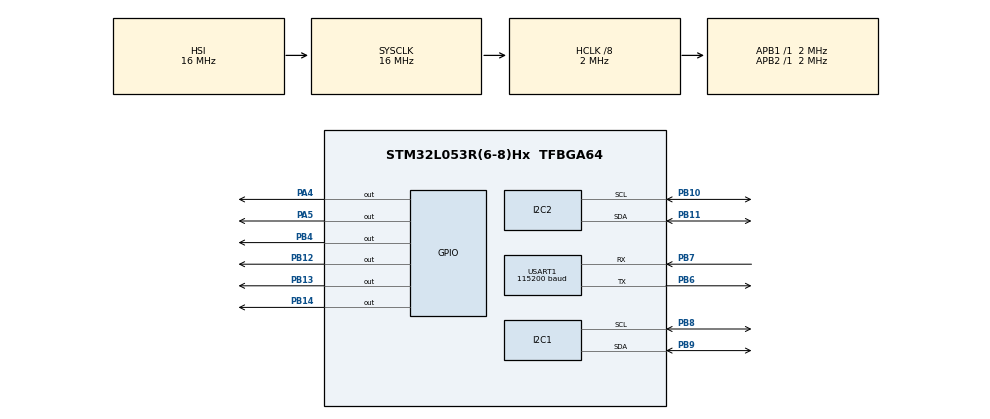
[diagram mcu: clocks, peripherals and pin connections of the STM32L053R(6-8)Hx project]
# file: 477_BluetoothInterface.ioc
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I2C1.Timing=0x00000509
I2C2.Timing=0x00000509
Mcu.Family=STM32L0
Mcu.Name=STM32L053R(6-8)Hx
Mcu.Package=TFBGA64
NVIC.TIM2_IRQn=true\:0\:0\:false\:false\:true\:true\:true
NVIC.USART1_IRQn=true\:0\:0\:false\:false\:true\:true\:true
PA4.Signal=GPIO_Output
PA5.Signal=GPIO_Output
PB10.Mode=I2C
PB10.Signal=I2C2_SCL
PB11.Mode=I2C
PB11.Signal=I2C2_SDA
PB12.Signal=GPIO_Output
PB13.Signal=GPIO_Output
PB14.Signal=GPIO_Output
PB4.Signal=GPIO_Output
PB6.Mode=Asynchronous
PB6.Signal=USART1_TX
PB7.Mode=Asynchronous
PB7.Signal=USART1_RX
PB8.Mode=I2C
PB8.Signal=I2C1_SCL
PB9.Mode=I2C
PB9.Signal=I2C1_SDA
PH0-OSC_IN.Mode=HSE-External-Oscillator
PH0-OSC_IN.Signal=RCC_OSC_IN
PH1-OSC_OUT.Mode=HSE-External-Oscillator
PH1-OSC_OUT.Signal=RCC_OSC_OUT
ProjectManager.HeapSize=0x200
ProjectManager.StackSize=0x400
ProjectManager.TargetToolchain=STM32CubeIDE
RCC.AHBCLKDivider=RCC_SYSCLK_DIV8
RCC.AHBFreq_Value=2000000
RCC.APB1Freq_Value=2000000
RCC.APB1TimFreq_Value=2000000
RCC.APB2Freq_Value=2000000
RCC.APB2TimFreq_Value=2000000
RCC.HCLKFreq_Value=2000000
RCC.HSE_VALUE=8000000
RCC.HSI16_VALUE=16000000
RCC.HSI48_VALUE=48000000
RCC.HSI_VALUE=16000000
RCC.LSE_VALUE=32768
RCC.MSI_VALUE=2097000
RCC.PLLDIV=RCC_PLLDIV_3
RCC.PLLSourceVirtual=RCC_PLLSOURCE_HSE
RCC.SYSCLKFreq_VALUE=16000000
RCC.SYSCLKSource=RCC_SYSCLKSOURCE_HSI
RCC.VCOOutputFreq_Value=24000000
TIM2.Period=1500-1
TIM2.Prescaler=40000-1
USART1.BaudRate=115200
USART1.VirtualMode-Asynchronous=VM_ASYNC
VP_TIM2_VS_ClockSourceINT.Mode=Internal
board=custom

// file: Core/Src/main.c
/* USER CODE BEGIN Header */
/**
  ******************************************************************************
  * @file           : main.c
  * @brief          : Main program body
  ******************************************************************************
  * @attention
  *
  * <h2><center>&copy; Copyright (c) 2021 STMicroelectronics.
  * All rights reserved.</center></h2>
  *
  * This software component is licensed by ST under BSD 3-Clause license,
  * the "License"; You may not use this file except in compliance with the
  * License. You may obtain a copy of the License at:
  *                        opensource.org/licenses/BSD-3-Clause
  *
  ******************************************************************************
  */
#include <stdlib.h>
//
#include "string.h"
//#include "rn4020.c"
/* USER CODE END Header */
#include "main.h"

/* USER CODE BEGIN Includes */
#include <math.h>
#include <stdio.h>
/* USER CODE END Includes */

/* USER CODE BEGIN PD */
#define RN4020_TIMEOUT 5000
#define TRUE 1
#define FALSE 0
/* USER CODE END PD */

I2C_HandleTypeDef hi2c1;
I2C_HandleTypeDef hi2c2;

TIM_HandleTypeDef htim2;

UART_HandleTypeDef huart1;

/* USER CODE BEGIN PV */

//-------------------------------------------------------------------------------
// IMU-20602 Global Variables
//-------------------------------------------------------------------------------
uint16_t ICM_Main_ADDR = 0x68 << 1;
uint8_t accXH;
uint8_t accYH;
uint8_t accZH;
uint16_t accXraw;
uint16_t accYraw;
uint16_t accZraw;

double temp_sens;
double accel_sens;
double accX = 1;
double accY = 1;
double accZ = 1;
double mag;

uint8_t data[6];
//-------------------------------------------------------------------------------

//-------------------------------------------------------------------------------
// RN4020 Global Variables
//-------------------------------------------------------------------------------
RN4020_State currState;
uint8_t rxBuffer[1];
uint8_t rxBuffer2[5];
uint8_t compareAOK[4] = {'A','O','K', '\r'};
uint8_t compareCMD[3] = {'C', 'M', 'D'};
uint8_t compareREB[3] = {'R', 'E', 'B'};
uint8_t compareREBOOT[6] = {'R', 'E', 'B', 'O', 'O', 'T'};
int HELPcounter = 0;
//-------------------------------------------------------------------------------

//-------------------------------------------------------------------------------
// Battery Babysitter Global Variables
//-------------------------------------------------------------------------------
//important address definitions
uint16_t BABY_Main_ADDR = 0x55 << 1;
uint16_t rem = 0x0C;
uint16_t full = 0x0E;
//-------------------------------------------------------------------------------

//-------------------------------------------------------------------------------
// Battery Babysitter Global Variables
//-------------------------------------------------------------------------------
int increasing = 0;
int decreasing = 0;
int prev_increasing = 0;
int prev_decreasing = 0;
int prev_value = 0;
int rotation_counter = 0;
int rotate = 0;
//-------------------------------------------------------------------------------

/* USER CODE END PV */

void SystemClock_Config(void);
static void MX_GPIO_Init(void);
static void MX_USART1_UART_Init(void);
static void MX_TIM2_Init(void);
static void MX_I2C2_Init(void);
static void MX_I2C1_Init(void);
/* USER CODE BEGIN PFP */

//**********************************************************************
//  RN4020 Function Declarations (START)
//**********************************************************************

int RN4020_resetDefaultStep(UART_HandleTypeDef *huart);

HAL_StatusTypeDef RN4020_resetToFactoryDefault(UART_HandleTypeDef *huart);

HAL_StatusTypeDef RN4020_killConnection(UART_HandleTypeDef *huart);

HAL_StatusTypeDef RN4020_setBaudRate115200(UART_HandleTypeDef *huart);

HAL_StatusTypeDef RN4020_setService(UART_HandleTypeDef *huart);

HAL_StatusTypeDef RN4020_clearPrivateSettings(UART_HandleTypeDef *huart);

HAL_StatusTypeDef RN4020_setPrivateService(UART_HandleTypeDef *huart);

HAL_StatusTypeDef RN4020_setPrivateChar(UART_HandleTypeDef *huart);

HAL_StatusTypeDef RN4020_setDeviceType(UART_HandleTypeDef *huart);

HAL_StatusTypeDef RN4020_rebootDevice(UART_HandleTypeDef *huart);

HAL_StatusTypeDef RN4020_setNameDevice(UART_HandleTypeDef *huart);

HAL_StatusTypeDef RN4020_waitForReadyState();

HAL_StatusTypeDef RN4020_waitForReadyState2();

HAL_StatusTypeDef RN4020_sendBatteryLife(UART_HandleTypeDef *huart, char* batteryLevel);

void sendData(UART_HandleTypeDef *huart, char _out[]);

void RN4020_sendData(UART_HandleTypeDef *huart, const char* line);

int compStr(uint8_t strcomp[], uint8_t expcomp[]);

void resetRxBuffer(uint8_t *rxBuffer);

void RN4020_setState(RN4020_State *state, RN4020_State newState);

void RN4020_checkState();

void getBatteryLife();

void babysitter_SendData();

//**********************************************************************
//  RN4020 Function Declarations (END)
//**********************************************************************

//**********************************************************************
//  RN4020 Maybe useful later (START)
//**********************************************************************
//void setupReceiveInterrupt(UART_HandleTypeDef *huart, int size);
//void sendUSART(UART_HandleTypeDef *huart, char _out[], GPIO_TypeDef *GPIOX, int GPIO_Pin);

//
//void setupReceiveInterrupt(UART_HandleTypeDef *huart, int size) {
//	HAL_UART_Receive_IT(huart, rxBuffer, size);
//}

//void sendUSART(UART_HandleTypeDef *huart, char _out[], GPIO_TypeDef *GPIOX, int GPIO_Pin)
//{
//	HAL_StatusTypeDef ret;
//	ret = HAL_UART_Transmit(huart, (uint8_t *) _out, strlen(_out), 10);
//	HAL_Delay(5000);
//	if (ret == HAL_OK) {
//		HAL_GPIO_TogglePin(GPIOX, GPIO_Pin);
//	}
//}

//**********************************************************************
//  RN4020 Maybe useful later (END)
//**********************************************************************

//**********************************************************************
//  HELPER RN4020 Functions (START)
//**********************************************************************
//ACTUALLY for battery life
void getBatteryLife() {
	HAL_StatusTypeDef babysitter_ret;
	HAL_StatusTypeDef babysitter_ret2;
	uint8_t BABY_data[2];
	uint8_t BABY_data2[2];
	int bigbattery = 0;
//	char cadence[4] = {0,0,0,0};
	char integer[4] = {0,0,0,0}; //create an empty string to store number
//	char HELPinteger[4] = {0,0,0,0};
	babysitter_ret = HAL_I2C_Mem_Read(&hi2c2, BABY_Main_ADDR, rem, I2C_MEMADD_SIZE_8BIT, BABY_data, 2, HAL_MAX_DELAY);
	babysitter_ret2 = HAL_I2C_Mem_Read(&hi2c2, BABY_Main_ADDR, full, I2C_MEMADD_SIZE_8BIT, BABY_data2, 2, HAL_MAX_DELAY);

	if ( babysitter_ret != HAL_OK || babysitter_ret2 != HAL_OK ) {

	}
	else {
		char integer[4] = {0,0,0,0}; //create an empty string to store number
//		char decimal[4] = {0,0,0,0}; //create an empty string to store number
		uint16_t finalval = ((uint16_t) BABY_data[1] << 8) | BABY_data[0];
		uint16_t finalval2 = ((uint16_t) BABY_data2[1] << 8) | BABY_data2[0];
		bigbattery = 100000 * finalval / finalval2;

		if ((bigbattery / 1000) < 10) {
			sprintf(integer, "0%d", bigbattery / 1000);
//			sprintf(HELPinteger, "0%d", HELPcounter);
		}
		else {
			sprintf(integer, "%02d", bigbattery / 1000);
//			sprintf(HELPinteger, "%02d", HELPcounter);
		}
//		sprintf(decimal, "%03d", bigbattery % 1000);
		RN4020_sendBatteryLife(&huart1, integer);
//		RN4020_sendBatteryLife(&huart1, HELPinteger);

	  }
}

int compStr(uint8_t* strcomp, uint8_t* expcomp)
{
	//int sizeStrComp = sizeof(strcomp)/sizeof(strcomp[0]);
	//int sizeExpComp = sizeof(strcomp)/sizeof(expcomp[0]);
	if(strcomp[0] != expcomp[0]) {
		return FALSE;
	}
//	for(int i = 0; i < sizeExpComp; i++)
//	{
//		if (strcomp[i] != expcomp[i])
//		{
//			return FALSE;
//		}
//	}
	return TRUE;
}

void resetRxBuffer(uint8_t *rxBuffer)
{
	int sizeRx = sizeof(rxBuffer) / sizeof(rxBuffer[0]);
	for (int i = 0; i < sizeRx; i++) {
		rxBuffer[i] = 0;
	}
}

//**********************************************************************
//  HELPER RN4020 Functions (END)
//**********************************************************************

//**********************************************************************
//  RN4020 Functions (START)
//**********************************************************************

int RN4020_resetDefaultStep(UART_HandleTypeDef *huart) {
	int completeFlag = TRUE;
	if (RN4020_resetToFactoryDefault(huart) != HAL_OK) {
		HAL_GPIO_TogglePin(GPIOA, GPIO_PIN_5);
		completeFlag = FALSE;
	}
//	if (RN4020_killConnection(huart) != HAL_OK) {
//			HAL_GPIO_TogglePin(GPIOA, GPIO_PIN_5);
//			completeFlag = FALSE;
//		}
	if (RN4020_setBaudRate115200(huart) != HAL_OK) {
		HAL_GPIO_TogglePin(GPIOA, GPIO_PIN_5);
		completeFlag = FALSE;
	}
	if (RN4020_setService(huart) != HAL_OK) {
		HAL_GPIO_TogglePin(GPIOA, GPIO_PIN_5);
		completeFlag = FALSE;
	}
	if (RN4020_clearPrivateSettings(huart) != HAL_OK) {
		HAL_GPIO_TogglePin(GPIOA, GPIO_PIN_5);
		completeFlag = FALSE;
	}
	if (RN4020_setPrivateService(huart) != HAL_OK) {
		HAL_GPIO_TogglePin(GPIOA, GPIO_PIN_5);
		completeFlag = FALSE;
	}
	if (RN4020_setPrivateChar(huart) != HAL_OK) {
		HAL_GPIO_TogglePin(GPIOA, GPIO_PIN_5);
		completeFlag = FALSE;
	}
	if (RN4020_setDeviceType(huart) != HAL_OK) {
		HAL_GPIO_TogglePin(GPIOA, GPIO_PIN_5);
		completeFlag = FALSE;
	}
	if (RN4020_rebootDevice(huart) != HAL_OK) {
		HAL_GPIO_TogglePin(GPIOA, GPIO_PIN_5);
		completeFlag = FALSE;
	}
	if (RN4020_setNameDevice(huart) != HAL_OK) {
		HAL_GPIO_TogglePin(GPIOA, GPIO_PIN_5);
		completeFlag = FALSE;
	}

	return completeFlag;
}

HAL_StatusTypeDef RN4020_resetToFactoryDefault(UART_HandleTypeDef *huart) {
	RN4020_setState(&currState, RN4020_STATE_WAITING_FOR_AOK);
	RN4020_sendData(huart, "SF,1\r\n");
	return RN4020_waitForReadyState();
	}
HAL_StatusTypeDef RN4020_killConnection(UART_HandleTypeDef *huart) {
	RN4020_setState(&currState, RN4020_STATE_WAITING_FOR_AOK);
	RN4020_sendData(huart, "K\r\n");
	return RN4020_waitForReadyState();
	}
HAL_StatusTypeDef RN4020_setBaudRate115200(UART_HandleTypeDef *huart) {
	RN4020_setState(&currState, RN4020_STATE_WAITING_FOR_AOK);
	RN4020_sendData(huart, "SB,4\r\n");
	return RN4020_waitForReadyState();
	}

HAL_StatusTypeDef RN4020_setService(UART_HandleTypeDef *huart) {
	RN4020_setState(&currState, RN4020_STATE_WAITING_FOR_AOK);
	RN4020_sendData(huart, "SS,C0040000\r\n");
	return RN4020_waitForReadyState();
	}
HAL_StatusTypeDef RN4020_clearPrivateSettings(UART_HandleTypeDef *huart) {
	RN4020_setState(&currState, RN4020_STATE_WAITING_FOR_AOK);
	RN4020_sendData(huart, "PZ\r\n");
	return RN4020_waitForReadyState();
	}
HAL_StatusTypeDef RN4020_setPrivateService(UART_HandleTypeDef *huart) {
	RN4020_setState(&currState, RN4020_STATE_WAITING_FOR_AOK);
	RN4020_sendData(huart, "PS,11223344556677889900AABBCCDDEEFF\r\n");
	return RN4020_waitForReadyState();
	}
HAL_StatusTypeDef RN4020_setPrivateChar(UART_HandleTypeDef *huart) {
	RN4020_setState(&currState, RN4020_STATE_WAITING_FOR_AOK);
	RN4020_sendData(huart, "PC,010203040506070809000A0B0C0D0E0F,08,02\r\n");
	return RN4020_waitForReadyState();
	}
HAL_StatusTypeDef RN4020_setDeviceType(UART_HandleTypeDef *huart) {
	RN4020_setState(&currState, RN4020_STATE_WAITING_FOR_AOK);
	RN4020_sendData(huart, "SR,20000000\r\n");
	return RN4020_waitForReadyState();
	}
HAL_StatusTypeDef RN4020_rebootDevice(UART_HandleTypeDef *huart) {
	RN4020_setState(&currState, RN4020_STATE_WAITING_FOR_REBOOT);
	RN4020_sendData(huart, "R,1\r\n");
	return RN4020_waitForReadyState();
	}

HAL_StatusTypeDef RN4020_setNameDevice(UART_HandleTypeDef *huart) {
	RN4020_setState(&currState, RN4020_STATE_WAITING_FOR_AOK);
	RN4020_sendData(huart, "SN,T17_NewlyWED");
	RN4020_sendData(huart, "\r\n");
	return RN4020_waitForReadyState();
}

HAL_StatusTypeDef RN4020_sendBatteryLife(UART_HandleTypeDef *huart, char* batteryLevel) {
	RN4020_setState(&currState, RN4020_STATE_WAITING_FOR_AOK);
	RN4020_sendData(huart, "SUW,2A19,");
	RN4020_sendData(huart, batteryLevel);
	RN4020_sendData(huart, "\r\n");
//	return RN4020_waitForReadyState2();
	return HAL_OK;
	}

HAL_StatusTypeDef RN4020_sendCadence(UART_HandleTypeDef *huart, char* cadence) {
	RN4020_setState(&currState, RN4020_STATE_WAITING_FOR_AOK);
//	RN4020_sendData(huart, "SUW,2A07,");
	RN4020_sendData(huart, "SUW,2A19,");
	RN4020_sendData(huart, cadence);
//	RN4020_sendData(huart, "75");
	RN4020_sendData(huart, "\r\n");
//	return RN4020_waitForReadyState2();
	return HAL_OK;
	}

//Uses global variable currState
HAL_StatusTypeDef RN4020_waitForReadyState() {
	if(currState == RN4020_STATE_READY) {
		return HAL_OK;
	}

	uint32_t startTime = HAL_GetTick();
	while (1) {
		if(currState == RN4020_STATE_READY) {
			resetRxBuffer(rxBuffer);
			return HAL_OK;
		}
		//if ((HAL_GetTick() - startTime) > RN4020_TIMEOUT) {
		if ((HAL_GetTick() - startTime) > 3000) {
			resetRxBuffer(rxBuffer);
			return HAL_TIMEOUT;
		}
		RN4020_checkState();
	}

}

HAL_StatusTypeDef RN4020_waitForReadyState2() {
	if(currState == RN4020_STATE_READY) {
		return HAL_OK;
	}

	uint32_t startTime = HAL_GetTick();
	while (1) {
		if(currState == RN4020_STATE_READY) {
			resetRxBuffer(rxBuffer);
			return HAL_OK;
		}
		if ((HAL_GetTick() - startTime) > 500) {
			resetRxBuffer(rxBuffer);
			return HAL_TIMEOUT;
		}
		RN4020_checkState();
	}

}

//Uses global variable currState
void RN4020_checkState() {
	switch(currState) {
	case RN4020_STATE_WAITING_FOR_AOK:
		if (compStr(rxBuffer, compareAOK) == TRUE) {
			RN4020_setState(&currState, RN4020_STATE_READY);
			return;
		}
	break;
	case RN4020_STATE_WAITING_FOR_REBOOT:
		if (compStr(rxBuffer, compareREB) == TRUE) {
			RN4020_setState(&currState, RN4020_STATE_WAITING_FOR_CMD);
			return;
		}
	break;
	case RN4020_STATE_WAITING_FOR_CMD:
		if (compStr(rxBuffer, compareCMD) == TRUE) {
			RN4020_setState(&currState, RN4020_STATE_READY);
		}
	break;
	case RN4020_STATE_READY:
	break;
	}
}

void RN4020_setState(RN4020_State *state, RN4020_State newState) {
	*state = newState;
}

void RN4020_sendData(UART_HandleTypeDef *huart, const char* line) {
//  char carriageLineCh = '\r';
//  char newLineCh = '\n';
  HAL_UART_Transmit(huart, (uint8_t*)line, strlen(line), RN4020_TIMEOUT);
  //HAL_UART_Transmit(huart, (uint8_t*)&carriageLineCh, 1, RN4020_TIMEOUT);
  //HAL_UART_Transmit(huart, (uint8_t*)&newLineCh, 1, RN4020_TIMEOUT);
  //HAL_Delay(300);
}

//**********************************************************************
//  RN4020 Functions (END)
//**********************************************************************

//ACTUALLY, this is for the cadence XD
void babysitter_SendData() {
	//Variables for babysitter interrupt
//	HAL_StatusTypeDef babysitter_ret;
//	HAL_StatusTypeDef babysitter_ret2;
//	uint8_t BABY_data[2];
//	uint8_t BABY_data2[2];
//	int bigbattery = 0;
//	char integer[4] = {0,0,0,0}; //create an empty string to store number
//	char HELPinteger[4] = {0,0,0,0};
	char cadence[4] = {0,0,0,0};
	if (rotation_counter < 10) {
		sprintf(cadence, "0%d", rotation_counter);
	}
	else {
		sprintf(cadence, "%02d", rotation_counter);
	}
	RN4020_sendCadence(&huart1, cadence);
//	babysitter_ret = HAL_I2C_Mem_Read(&hi2c2, BABY_Main_ADDR, rem, I2C_MEMADD_SIZE_8BIT, BABY_data, 2, HAL_MAX_DELAY);
//	babysitter_ret2 = HAL_I2C_Mem_Read(&hi2c2, BABY_Main_ADDR, full, I2C_MEMADD_SIZE_8BIT, BABY_data2, 2, HAL_MAX_DELAY);
//
//	if ( babysitter_ret != HAL_OK || babysitter_ret2 != HAL_OK ) {
//		babysitter_ret = HAL_I2C_Mem_Read(&hi2c2, BABY_Main_ADDR, rem, I2C_MEMADD_SIZE_8BIT, BABY_data, 2, HAL_MAX_DELAY);
//		babysitter_ret2 = HAL_I2C_Mem_Read(&hi2c2, BABY_Main_ADDR, full, I2C_MEMADD_SIZE_8BIT, BABY_data2, 2, HAL_MAX_DELAY);
//		if ( babysitter_ret != HAL_OK || babysitter_ret2 != HAL_OK ) {
//			//HAL_UART_Transmit(&huart1, (uint8_t *) " RECEIVE ERROR\r\n", strlen(" RECEIVE ERROR\r\n"), 100);
//		}
//		else {
//			uint16_t finalval = ((uint16_t) BABY_data[1] << 8) | BABY_data[0];
//			uint16_t finalval2 = ((uint16_t) BABY_data2[1] << 8) | BABY_data2[0];
//			bigbattery = 100000 * finalval / finalval2;
//
//			if ((bigbattery / 1000) < 10) {
//				//sprintf(integer, "0%d", bigbattery / 1000);
//				sprintf(HELPinteger, "0%d", HELPcounter);
//			}
//			else {
//				//sprintf(integer, "%02d", bigbattery / 1000);
//				sprintf(HELPinteger, "%02d", HELPcounter);
//			}
//
////			RN4020_sendBatteryLife(&huart1, integer);
//			RN4020_sendBatteryLife(&huart1, HELPinteger);
//		}
//	}
//	else {
//		char integer[4] = {0,0,0,0}; //create an empty string to store number
////		char decimal[4] = {0,0,0,0}; //create an empty string to store number
//		uint16_t finalval = ((uint16_t) BABY_data[1] << 8) | BABY_data[0];
//		uint16_t finalval2 = ((uint16_t) BABY_data2[1] << 8) | BABY_data2[0];
//		bigbattery = 100000 * finalval / finalval2;
//
//		if ((bigbattery / 1000) < 10) {
//			//sprintf(integer, "0%d", bigbattery / 1000);
//			sprintf(HELPinteger, "0%d", HELPcounter);
//		}
//		else {
//			//sprintf(integer, "%02d", bigbattery / 1000);
//			sprintf(HELPinteger, "%02d", HELPcounter);
//		}
////		sprintf(decimal, "%03d", bigbattery % 1000);
////		RN4020_sendBatteryLife(&huart1, integer);
//		RN4020_sendBatteryLife(&huart1, HELPinteger);
//
//	  }
//	  if (ret == HAL_OK) {
//		  HAL_GPIO_TogglePin(GPIOA, GPIO_PIN_5);
//	  }

}
void HAL_UART_RxCpltCallback(UART_HandleTypeDef *huart)
{
	//HAL_UART_Transmit(&huart1, (uint8_t *)"Success\n\r", strlen("Success\n\r"), 100);
	HAL_UART_Receive_IT(&huart1, rxBuffer, sizeof(rxBuffer));

// --------------------------------------------------------------------------------------------
// DEBUGGING by TRANSMITTING BACK TO TERMINAL
//	// DEBUG: Write back to terminal to see if it is the same
//	HAL_UART_Transmit(&huart1, (uint8_t *)"\n\r", strlen("\n\r"), 100);
//    HAL_UART_Transmit(&huart1, rxBuffer, sizeof(rxBuffer), 100);
//	HAL_UART_Transmit(&huart1, (uint8_t *)"\n\r", strlen("\n\r"), 100);
//
//	// Compare string using compStr function to see if they are the same
//	if(compStr(rxBuffer, compareAOK) == TRUE) {
//		HAL_UART_Transmit(&huart1, (uint8_t *)"Success\n\r", strlen("Success\n\r"), 100);
//		HAL_GPIO_WritePin(GPIOA, GPIO_PIN_5, GPIO_PIN_SET);
//	}
//	else {
//		HAL_UART_Transmit(&huart1, (uint8_t *)"Fail\n\r", strlen("Fail\n\r"), 100);
//		HAL_GPIO_WritePin(GPIOA, GPIO_PIN_5, GPIO_PIN_RESET);
//	}
//    HAL_UART_Receive_IT(&huart1, rxBuffer, sizeof(rxBuffer));
// --------------------------------------------------------------------------------------------
}

/* USER CODE END PFP */

int main(void)
{
  /* USER CODE BEGIN 1 */
	int RN4020_config_ret;

	HAL_StatusTypeDef ICM_ret = HAL_OK;
	HAL_StatusTypeDef ICM_ret2 = HAL_OK;
	HAL_StatusTypeDef ICM_ret3 = HAL_OK;
	HAL_StatusTypeDef ICM_ret4 = HAL_OK;
	HAL_StatusTypeDef ICM_ret5 = HAL_OK;
	HAL_StatusTypeDef ICM_ret6 = HAL_OK;

	uint8_t deviceID;
	uint8_t pwr1 = 0x80;
	uint8_t pwr1_2 = 0x01;
	uint8_t rtDiv = 0x00;
	uint8_t accelConfig = 0x18;
	uint8_t accelConfig2 = 0x03;

  /* USER CODE END 1 */

  /* MCU Configuration--------------------------------------------------------*/

  /* Reset of all peripherals, Initializes the Flash interface and the Systick. */
  HAL_Init();

  /* Configure the system clock */
  SystemClock_Config();

  /* Initialize all configured peripherals */
  MX_GPIO_Init();
  MX_USART1_UART_Init();
  MX_TIM2_Init();
  MX_I2C2_Init();
  MX_I2C1_Init();
  /* USER CODE BEGIN 2 */
  RCC -> IOPENR |= RCC_IOPENR_IOPBEN | RCC_IOPENR_IOPAEN;
  HAL_GPIO_WritePin(GPIOA, GPIO_PIN_5, GPIO_PIN_RESET); // Set PA5 pin off
  HAL_GPIO_WritePin(GPIOA, GPIO_PIN_4, 1);
  HAL_GPIO_WritePin(GPIOB, GPIO_PIN_4, 1);

//==================================================================================
//	Bluetooth LE Configuration Step
//==================================================================================
  HAL_UART_Receive_IT(&huart1, rxBuffer, sizeof(rxBuffer));
  RN4020_config_ret = RN4020_resetDefaultStep(&huart1);
  if (RN4020_config_ret == TRUE) {
	  HAL_GPIO_WritePin(GPIOA, GPIO_PIN_5, GPIO_PIN_SET);
  }
    HAL_GPIO_WritePin(GPIOA, GPIO_PIN_5, GPIO_PIN_SET);
//==================================================================================
//  getBatteryLife();
//  HAL_Delay(25);
//==================================================================================
//	ICM-20602 Configuration Step
//==================================================================================
  // read who_am_i
  ICM_ret = HAL_I2C_Mem_Read(&hi2c1, ICM_Main_ADDR, WHO_AM_I, I2C_MEMADD_SIZE_8BIT, &deviceID, 1, 0xFF);
  HAL_Delay(25);

  // reset IMU
  ICM_ret2 = HAL_I2C_Mem_Write(&hi2c1, ICM_Main_ADDR, PWR_MGMT_1, I2C_MEMADD_SIZE_8BIT, &pwr1, 1, 0xFF);
  HAL_Delay(25);

  // enable temperature sensor and SELECTS the clock source
  ICM_ret3 = HAL_I2C_Mem_Write(&hi2c1, ICM_Main_ADDR, PWR_MGMT_1, I2C_MEMADD_SIZE_8BIT, &pwr1_2, 1, 0xFF);
  HAL_Delay(25);
  temp_sens = 326.8;

  // set sample rate to 1kHz and apply
  ICM_ret4 = HAL_I2C_Mem_Write(&hi2c1, ICM_Main_ADDR, SMPLRT_DIV, I2C_MEMADD_SIZE_8BIT, &rtDiv, 1, 0xFF);
  HAL_Delay(25);

  // accel full-scale range = 16g(0b11) -- sensitivity scale factor = 2,048 LSB/(dps)
  ICM_ret5 = HAL_I2C_Mem_Write(&hi2c1, ICM_Main_ADDR, ACCEL_CONFIG, I2C_MEMADD_SIZE_8BIT, &accelConfig, 1, 0xFF); // ACCEL full-scale range = 16g -- sensitivity scale facotr = 2,048 LSB/(dps)
  HAL_Delay(25);
  accel_sens = 2048.0;

  // set A_DLPF_CFG to 3 for accel configuration
  ICM_ret6 = HAL_I2C_Mem_Write(&hi2c1, ICM_Main_ADDR, ACCEL_CONFIG2, I2C_MEMADD_SIZE_8BIT, &accelConfig2, 1, 0xFF); // ACCEL FCHOICE 1kHz(bit3-0), DLPF fc 44.8Hz(bit2:0-011)
  HAL_Delay(25);
  if (ICM_ret != HAL_OK || ICM_ret2 != HAL_OK || ICM_ret3 != HAL_OK || ICM_ret4 != HAL_OK || ICM_ret5 != HAL_OK || ICM_ret6 != HAL_OK || deviceID != 0x12)
  {
	  HAL_GPIO_WritePin(GPIOB, GPIO_PIN_12 | GPIO_PIN_13 | GPIO_PIN_14, 1);
	  HAL_Delay(500);
	  HAL_GPIO_WritePin(GPIOB, GPIO_PIN_12 | GPIO_PIN_13 | GPIO_PIN_14, 0);
  }
  else {
	  HAL_GPIO_WritePin(GPIOB, GPIO_PIN_12, 1);
	  HAL_Delay(500);
	  HAL_GPIO_WritePin(GPIOB, GPIO_PIN_12, 0);
  }
//==================================================================================
//	Start TIMER2 Step (function @ HAL_TIM_PeriodElapsedCallback)
//==================================================================================
  HAL_TIM_Base_Start_IT(&htim2);
//==================================================================================

  /* USER CODE END 2 */

  /* Infinite loop */
  /* USER CODE BEGIN WHILE */
	int IMU_avgCounter = 0;
	int IMU_postCounter = 0;
	double IMU_sum = 0;
	double curr_value = 0;
	double prev_value = 0;

	while (1)
	{
		//Collect IMU acceleration data
		ICM_ret = HAL_I2C_Mem_Read(&hi2c1, ICM_Main_ADDR, ACCEL_XOUT_H, I2C_MEMADD_SIZE_8BIT, data, sizeof(data)/sizeof(uint8_t), HAL_MAX_DELAY);
		if ((data[0] & 0x80) != 0){
			accX = -1;
			data[0] = (data[0] ^ 0xFF) + 1;
		}
		if ((data[2] & 0x80) != 0){
			accY = -1;
			data[2] = (data[2] ^ 0xFF) + 1;
		}
		if ((data[4] & 0x80) != 0){
			accZ = -1;
			data[4] = (data[4] ^ 0xFF) + 1;
		}
		accXraw = (uint16_t) (data[0] << 8 | data[1]);
		accYraw = (uint16_t) (data[2] << 8 | data[3]);
		accZraw = (uint16_t) (data[4] << 8 | data[5]);
		accX *= accXraw / accel_sens;
		accY *= accYraw / accel_sens;
		accZ *= accZraw / accel_sens;
		mag = sqrt((pow(accX, 2) + pow(accY, 2) + pow(accZ, 2)));
		if(((accX > .9) && (accX < 1.1)) || ((accX < -.9) && (accX > -1.1))){
		    HAL_GPIO_WritePin(GPIOB, GPIO_PIN_12, 1);
		}
		else{
			HAL_GPIO_WritePin(GPIOB, GPIO_PIN_12, 0);
		}
		if(((accY > .9) && (accY < 1.1)) || ((accY < -.9) && (accY > -1.1))){
			HAL_GPIO_WritePin(GPIOB, GPIO_PIN_13, 1);
		}
		else{
			HAL_GPIO_WritePin(GPIOB, GPIO_PIN_13, 0);
		}
		if(((accZ > .9) && (accZ < 1.1)) || ((accZ < -.9) && (accZ > -1.1))){
			HAL_GPIO_WritePin(GPIOB, GPIO_PIN_14, 1);
		}
		else{
			HAL_GPIO_WritePin(GPIOB, GPIO_PIN_14, 0);
		}

		accX = 1;
		accY = 1;
		accZ = 1;

		IMU_sum = IMU_sum + mag;
		if(IMU_avgCounter == 99) {
			curr_value = IMU_sum / 100;
			IMU_avgCounter = 0;
			IMU_sum = 0;

			if(IMU_postCounter != 0) {
				prev_increasing = increasing;
				prev_decreasing = decreasing;
				if(curr_value > prev_value) {
					increasing = 1;
					decreasing = 0;
				}
				else {
					increasing = 0;
					decreasing = 1;
				}
				prev_value = curr_value;
			}
			else {
				prev_value = curr_value;
			}
			if(prev_decreasing && increasing) {
				//rotation phase 1
				rotate++;
			}
			if(prev_increasing && decreasing) {
				//rotation phase 2
				rotate++;
			}
			if(rotate == 2) {
				rotate = 0;
				rotation_counter++;
			}
			IMU_postCounter++;
		}
		else {
			IMU_avgCounter++;
		}

    /* USER CODE END WHILE */

	}
}

void SystemClock_Config(void)
{
  RCC_OscInitTypeDef RCC_OscInitStruct = {0};
  RCC_ClkInitTypeDef RCC_ClkInitStruct = {0};
  RCC_PeriphCLKInitTypeDef PeriphClkInit = {0};

  /** Configure the main internal regulator output voltage
  */
  __HAL_PWR_VOLTAGESCALING_CONFIG(PWR_REGULATOR_VOLTAGE_SCALE1);
  /** Initializes the RCC Oscillators according to the specified parameters
  * in the RCC_OscInitTypeDef structure.
  */
  RCC_OscInitStruct.OscillatorType = RCC_OSCILLATORTYPE_HSI;
  RCC_OscInitStruct.HSIState = RCC_HSI_ON;
  RCC_OscInitStruct.HSICalibrationValue = RCC_HSICALIBRATION_DEFAULT;
  RCC_OscInitStruct.PLL.PLLState = RCC_PLL_NONE;
  if (HAL_RCC_OscConfig(&RCC_OscInitStruct) != HAL_OK)
  {
    Error_Handler();
  }
  /** Initializes the CPU, AHB and APB buses clocks
  */
  RCC_ClkInitStruct.ClockType = RCC_CLOCKTYPE_HCLK|RCC_CLOCKTYPE_SYSCLK
                              |RCC_CLOCKTYPE_PCLK1|RCC_CLOCKTYPE_PCLK2;
  RCC_ClkInitStruct.SYSCLKSource = RCC_SYSCLKSOURCE_HSI;
  RCC_ClkInitStruct.AHBCLKDivider = RCC_SYSCLK_DIV8;
  RCC_ClkInitStruct.APB1CLKDivider = RCC_HCLK_DIV1;
  RCC_ClkInitStruct.APB2CLKDivider = RCC_HCLK_DIV1;

  if (HAL_RCC_ClockConfig(&RCC_ClkInitStruct, FLASH_LATENCY_0) != HAL_OK)
  {
    Error_Handler();
  }
  PeriphClkInit.PeriphClockSelection = RCC_PERIPHCLK_USART1|RCC_PERIPHCLK_I2C1;
  PeriphClkInit.Usart1ClockSelection = RCC_USART1CLKSOURCE_PCLK2;
  PeriphClkInit.I2c1ClockSelection = RCC_I2C1CLKSOURCE_PCLK1;
  if (HAL_RCCEx_PeriphCLKConfig(&PeriphClkInit) != HAL_OK)
  {
    Error_Handler();
  }
}

static void MX_I2C1_Init(void)
{

  hi2c1.Instance = I2C1;
  hi2c1.Init.Timing = 0x00000509;
  hi2c1.Init.OwnAddress1 = 0;
  hi2c1.Init.AddressingMode = I2C_ADDRESSINGMODE_7BIT;
  hi2c1.Init.DualAddressMode = I2C_DUALADDRESS_DISABLE;
  hi2c1.Init.OwnAddress2 = 0;
  hi2c1.Init.OwnAddress2Masks = I2C_OA2_NOMASK;
  hi2c1.Init.GeneralCallMode = I2C_GENERALCALL_DISABLE;
  hi2c1.Init.NoStretchMode = I2C_NOSTRETCH_DISABLE;
  if (HAL_I2C_Init(&hi2c1) != HAL_OK)
  {
    Error_Handler();
  }
  /** Configure Analogue filter
  */
  if (HAL_I2CEx_ConfigAnalogFilter(&hi2c1, I2C_ANALOGFILTER_ENABLE) != HAL_OK)
  {
    Error_Handler();
  }
  /** Configure Digital filter
  */
  if (HAL_I2CEx_ConfigDigitalFilter(&hi2c1, 0) != HAL_OK)
  {
    Error_Handler();
  }

}

static void MX_I2C2_Init(void)
{

  hi2c2.Instance = I2C2;
  hi2c2.Init.Timing = 0x00000509;
  hi2c2.Init.OwnAddress1 = 0;
  hi2c2.Init.AddressingMode = I2C_ADDRESSINGMODE_7BIT;
  hi2c2.Init.DualAddressMode = I2C_DUALADDRESS_DISABLE;
  hi2c2.Init.OwnAddress2 = 0;
  hi2c2.Init.OwnAddress2Masks = I2C_OA2_NOMASK;
  hi2c2.Init.GeneralCallMode = I2C_GENERALCALL_DISABLE;
  hi2c2.Init.NoStretchMode = I2C_NOSTRETCH_DISABLE;
  if (HAL_I2C_Init(&hi2c2) != HAL_OK)
  {
    Error_Handler();
  }
  /** Configure Analogue filter
  */
  if (HAL_I2CEx_ConfigAnalogFilter(&hi2c2, I2C_ANALOGFILTER_ENABLE) != HAL_OK)
  {
    Error_Handler();
  }
  /** Configure Digital filter
  */
  if (HAL_I2CEx_ConfigDigitalFilter(&hi2c2, 0) != HAL_OK)
  {
    Error_Handler();
  }

}

static void MX_TIM2_Init(void)
{

  TIM_ClockConfigTypeDef sClockSourceConfig = {0};
  TIM_MasterConfigTypeDef sMasterConfig = {0};

  htim2.Instance = TIM2;
  htim2.Init.Prescaler = 40000-1;
  htim2.Init.CounterMode = TIM_COUNTERMODE_UP;
  htim2.Init.Period = 1500-1;
  htim2.Init.ClockDivision = TIM_CLOCKDIVISION_DIV1;
  htim2.Init.AutoReloadPreload = TIM_AUTORELOAD_PRELOAD_DISABLE;
  if (HAL_TIM_Base_Init(&htim2) != HAL_OK)
  {
    Error_Handler();
  }
  sClockSourceConfig.ClockSource = TIM_CLOCKSOURCE_INTERNAL;
  if (HAL_TIM_ConfigClockSource(&htim2, &sClockSourceConfig) != HAL_OK)
  {
    Error_Handler();
  }
  sMasterConfig.MasterOutputTrigger = TIM_TRGO_RESET;
  sMasterConfig.MasterSlaveMode = TIM_MASTERSLAVEMODE_DISABLE;
  if (HAL_TIMEx_MasterConfigSynchronization(&htim2, &sMasterConfig) != HAL_OK)
  {
    Error_Handler();
  }

}

static void MX_USART1_UART_Init(void)
{

  huart1.Instance = USART1;
  huart1.Init.BaudRate = 115200;
  huart1.Init.WordLength = UART_WORDLENGTH_8B;
  huart1.Init.StopBits = UART_STOPBITS_1;
  huart1.Init.Parity = UART_PARITY_NONE;
  huart1.Init.Mode = UART_MODE_TX_RX;
  huart1.Init.HwFlowCtl = UART_HWCONTROL_NONE;
  huart1.Init.OverSampling = UART_OVERSAMPLING_16;
  huart1.Init.OneBitSampling = UART_ONE_BIT_SAMPLE_DISABLE;
  huart1.AdvancedInit.AdvFeatureInit = UART_ADVFEATURE_NO_INIT;
  if (HAL_UART_Init(&huart1) != HAL_OK)
  {
    Error_Handler();
  }

}

static void MX_GPIO_Init(void)
{
  GPIO_InitTypeDef GPIO_InitStruct = {0};

  /* GPIO Ports Clock Enable */
  __HAL_RCC_GPIOB_CLK_ENABLE();
  __HAL_RCC_GPIOH_CLK_ENABLE();
  __HAL_RCC_GPIOA_CLK_ENABLE();

  /*Configure GPIO pin Output Level */
  HAL_GPIO_WritePin(GPIOB, GPIO_PIN_4|GPIO_PIN_14|GPIO_PIN_13|GPIO_PIN_12, GPIO_PIN_RESET);

  /*Configure GPIO pin Output Level */
  HAL_GPIO_WritePin(GPIOA, GPIO_PIN_5|GPIO_PIN_4, GPIO_PIN_RESET);

  /*Configure GPIO pins : PB4 PB14 PB13 PB12 */
  GPIO_InitStruct.Pin = GPIO_PIN_4|GPIO_PIN_14|GPIO_PIN_13|GPIO_PIN_12;
  GPIO_InitStruct.Mode = GPIO_MODE_OUTPUT_PP;
  GPIO_InitStruct.Pull = GPIO_NOPULL;
  GPIO_InitStruct.Speed = GPIO_SPEED_FREQ_LOW;
  HAL_GPIO_Init(GPIOB, &GPIO_InitStruct);

  /*Configure GPIO pins : PA5 PA4 */
  GPIO_InitStruct.Pin = GPIO_PIN_5|GPIO_PIN_4;
  GPIO_InitStruct.Mode = GPIO_MODE_OUTPUT_PP;
  GPIO_InitStruct.Pull = GPIO_NOPULL;
  GPIO_InitStruct.Speed = GPIO_SPEED_FREQ_LOW;
  HAL_GPIO_Init(GPIOA, &GPIO_InitStruct);

}

/* USER CODE BEGIN 4 */

void HAL_TIM_PeriodElapsedCallback(TIM_HandleTypeDef *htim)
{

	while ((I2C1->ISR & I2C_FLAG_BUSY) != 0) {

	}

	babysitter_SendData();
	HELPcounter++;
	rotation_counter = 0;
}

/* USER CODE END 4 */

void Error_Handler(void)
{
  __disable_irq();
  while (1)
  {
  }
}

/************************ (C) COPYRIGHT STMicroelectronics *****END OF FILE****/
